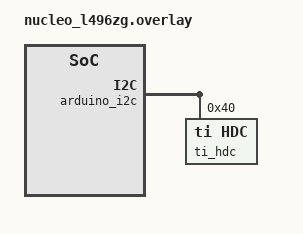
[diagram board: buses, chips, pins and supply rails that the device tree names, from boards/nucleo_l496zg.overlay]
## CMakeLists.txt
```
# SPDX-License-Identifier: Apache-2.0

cmake_minimum_required(VERSION 3.20.0)

find_package(Zephyr REQUIRED HINTS $ENV{ZEPHYR_BASE})
project(ti_hdc)

FILE(GLOB app_sources src/*.c)
target_sources(app PRIVATE ${app_sources})
```

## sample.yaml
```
sample:
  name: TI HDC Humidity/Temperature Sensor
tests:
  sample.sensor.ti_hdc:
    harness: sensor
    platform_allow:
      - reel_board/nrf52840
      - nucleo_l496zg/stm32l496xx
    integration_platforms:
      - reel_board/nrf52840
    tags: sensors
    depends_on: i2c
```

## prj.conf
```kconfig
CONFIG_ASSERT=y # validation
CONFIG_I2C=y
CONFIG_GPIO=y
CONFIG_SENSOR=y
```

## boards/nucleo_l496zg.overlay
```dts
/*
 * Copyright (c) 2019 Centaur Analytics, Inc
 *
 * SPDX-License-Identifier: Apache-2.0
 */

&arduino_i2c {

	ti_hdc: ti_hdc@40 {
		compatible = "ti,hdc","ti,hdc1080";
		reg = <0x40>;
	};

};
```

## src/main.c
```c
/*
 * Copyright (c) 2019 Centaur Analytics
 *
 * SPDX-License-Identifier: Apache-2.0
 */

#include <zephyr/kernel.h>
#include <zephyr/device.h>
#include <zephyr/drivers/sensor.h>
#include <zephyr/sys/printk.h>
#include <zephyr/sys/__assert.h>
#include <zephyr/logging/log.h>
#include <zephyr/drivers/gpio.h>

int main(void)
{
	printk("Running on %s!\n", CONFIG_ARCH);
	const struct device *const dev = DEVICE_DT_GET_ONE(ti_hdc);

	if (!device_is_ready(dev)) {
		printk("sensor: device not ready.\n");
		return 0;
	}

	printk("Dev %p name %s is ready!\n", dev, dev->name);

	struct sensor_value temp, humidity;

	while (1) {
		/* take a sample */
		printk("Fetching...\n");
		sensor_sample_fetch(dev);
		sensor_channel_get(dev, SENSOR_CHAN_AMBIENT_TEMP, &temp);
		sensor_channel_get(dev, SENSOR_CHAN_HUMIDITY, &humidity);

		/* print the result */
		printk("Temp = %d.%06d C, RH = %d.%06d %%\n",
		       temp.val1, temp.val2, humidity.val1, humidity.val2);

		/* wait for the next sample */
		k_sleep(K_SECONDS(10));
	}
	return 0;
}
```
